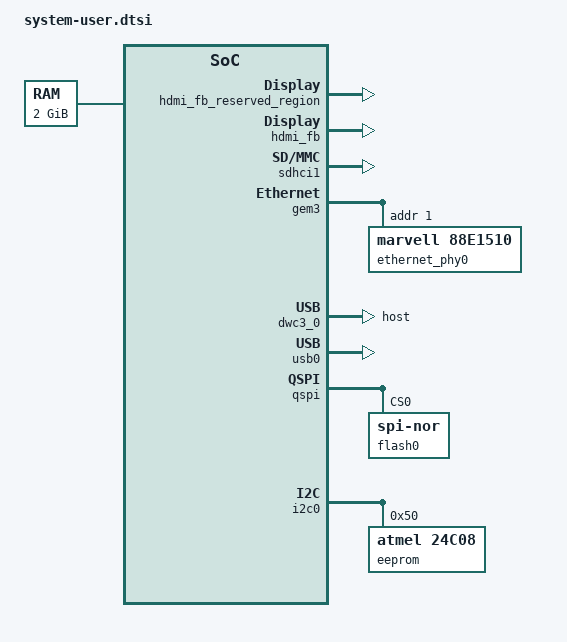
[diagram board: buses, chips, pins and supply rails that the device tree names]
/include/ "system-conf.dtsi"
/ {
	chosen {
		xlnx,eeprom = &eeprom;
		bootargs= "console=ttyPS0,115200 earlycon clk_ignore_unused earlyprintk cma=256M";
	};
};

/ {
	#address-cells = <2>;
	#size-cells = <2>;
	memory@0{
		device-type = "memory";
		reg = <0x000000000 0x00000000 0x00000000 0x80000000>;
	}; 

	reserved-memory {
		#address-cells = <2>;
		#size-cells = <2>;
		ranges;
		hdmi_fb_reserved_region: framebuffer@7FC00000 {
			 compatible = "removed-dma-pool";
			 //compatible = "shared-dma-pool";
			 //compatible = "xlnx,reserved-memory";
			 no-map;
			 reg = <0x0 0x7FC00000 0x0 0x400000>;
		 };
	};

	hdmi_fb: framebuffer@0x7FC00000 {	    // HDMI out
		 compatible = "simple-framebuffer";
		 reg = <0x0 0x7FC00000 0x0 (1280 * 720 * 4)>;    // 720p
		 width = <1280>;			    // 720p
		 height = <720>;			    // 720p
		 stride = <(1280 * 4)>;		    // 720p
		 format = "a8b8g8r8";
		 status = "okay";
	 };
};

// Trenz HDMI

// &hdmi_out_axi_vdma_0 {
// 	status = "disabled";
// };
// 
// &hdmi_out_v_tc_0 {
// 	//xilinx-vtc: probe of 43c20000.v_tc failed with error -2
// 	status = "disabled";
// };

// Trenz board common

/*emmc*/
&sdhci0 {
	// disable-wp;
	no-1-8-v;

};

/* SDIO */
&sdhci1 {
	status = "okay";
	disable-wp;
	no-1-8-v;
};

/* ETH PHY */
&gem3 {

	status = "okay";
	ethernet_phy0: ethernet-phy@0 {
		compatible = "marvell,88e1510";
		device_type = "ethernet-phy";
		reg = <1>;
	};
};
/* USB 2.0 */

/* USB  */
&dwc3_0 {
	status = "okay";
	dr_mode = "host";
	maximum-speed = "high-speed";
	/delete-property/phy-names;
	/delete-property/phys;
	/delete-property/snps,usb3_lpm_capable;
	snps,dis_u2_susphy_quirk;
	snps,dis_u3_susphy_quirk;
};

&usb0 {
	status = "okay";
	/delete-property/ clocks;
	/delete-property/ clock-names;
	clocks = <0x3 0x20>;
	clock-names = "bus_clk";
};


/* QSPI PHY */
&qspi {
	#address-cells = <1>;
	#size-cells = <0>;
	status = "okay";
	flash0: flash@0 {
		compatible = "jedec,spi-nor";
		reg = <0x0>;
		#address-cells = <1>;
		#size-cells = <1>;
	};
};

&i2c0 {
	eeprom: eeprom@50 {
		compatible = "atmel,24c08";
		reg = <0x50>;
	};
};
